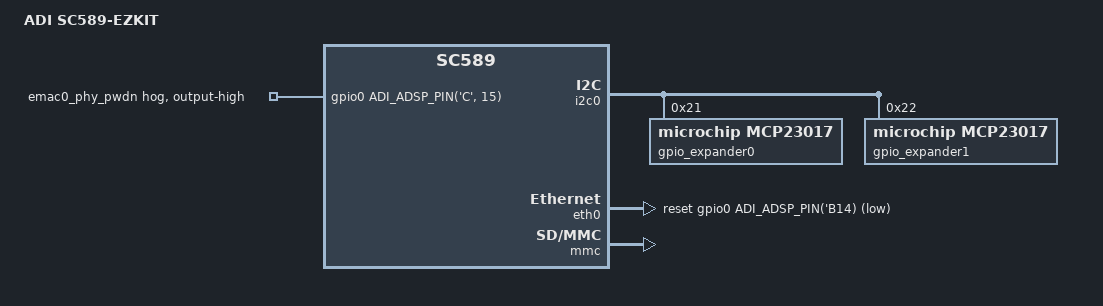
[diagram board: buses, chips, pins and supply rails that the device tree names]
// SPDX-License-Identifier: GPL-2.0-or-later
/*
 * (C) Copyright 2024 - Analog Devices, Inc.
 */

/dts-v1/;

#include "sc58x.dtsi"

/ {
	#address-cells = <1>;
	#size-cells = <1>;
	model = "ADI SC589-EZKIT";
	compatible = "adi,sc589-ezkit", "adi,sc58x";
};

&i2c0 {
	#address-cells = <1>;
	#size-cells = <0>;
	gpio_expander0: mcp23017@21 {
		compatible = "microchip,mcp23017";
		reg = <0x21>;
		gpio-controller;
		#gpio-cells = <2>;
		bootph-pre-ram;

		eeprom {
			gpio-hog;
			gpios = <0 GPIO_ACTIVE_LOW>;
			output-low;
			line-name = "eeprom-en";
			bootph-pre-ram;
		};

		uart0-flow-en {
			gpio-hog;
			gpios = <1 GPIO_ACTIVE_LOW>;
			output-low;
			line-name = "uart0-flow-en";
			bootph-pre-ram;
		};

		uart0-en {
			gpio-hog;
			gpios = <2 GPIO_ACTIVE_LOW>;
			output-high;
			line-name = "uart0-en";
			bootph-pre-ram;
		};

		eth0 {
			gpio-hog;
			gpios = <3 GPIO_ACTIVE_LOW>;
			output-high;
			line-name = "eth0-en";
			bootph-pre-ram;
		};

		eth1 {
			gpio-hog;
			gpios = <4 GPIO_ACTIVE_LOW>;
			output-high;
			line-name = "eth1-en";
			bootph-pre-ram;
		};

		mlb {
			gpio-hog;
			gpios = <5 GPIO_ACTIVE_LOW>;
			output-low;
			line-name = "mlb-en";
			bootph-pre-ram;
		};

		can0 {
			gpio-hog;
			gpios = <6 GPIO_ACTIVE_LOW>;
			output-low;
			line-name = "can0-en";
			bootph-pre-ram;
		};

		can1 {
			gpio-hog;
			gpios = <7 GPIO_ACTIVE_LOW>;
			output-low;
			line-name = "can1-en";
			bootph-pre-ram;
		};

		adau1962 {
			gpio-hog;
			gpios = <8 GPIO_ACTIVE_LOW>;
			output-high;
			line-name = "adau1962-en";
			bootph-pre-ram;
		};

		adau1979 {
			gpio-hog;
			gpios = <9 GPIO_ACTIVE_LOW>;
			output-high;
			line-name = "adau1979-en";
			bootph-pre-ram;
		};

		sd_wp {
			gpio-hog;
			gpios = <11 GPIO_ACTIVE_LOW>;
			output-low;
			line-name = "sd-wp-en";
			bootph-pre-ram;
		};

		spi2d2-d3 {
			gpio-hog;
			gpios = <12 GPIO_ACTIVE_LOW>;
			output-high;
			line-name = "spi2d2-d3-en";
			bootph-pre-ram;
		};

		spi2flash-cs {
			gpio-hog;
			gpios = <13 GPIO_ACTIVE_LOW>;
			output-high;
			line-name = "spi2flash-cs";
			bootph-pre-ram;
		};

		spdif-opt {
			gpio-hog;
			gpios = <14 GPIO_ACTIVE_LOW>;
			output-low;
			line-name = "spdif-optical-en";
			bootph-pre-ram;
		};

		spdif-dig {
			gpio-hog;
			gpios = <15 GPIO_ACTIVE_LOW>;
			output-low;
			line-name = "spdif-digital-en";
			bootph-pre-ram;
		};
	};

	gpio_expander1: mcp23017@22 {
		compatible = "microchip,mcp23017";
		reg = <0x22>;
		gpio-controller;
		#gpio-cells = <2>;
		bootph-pre-ram;

		pushbutton1 {
			gpio-hog;
			gpios = <0 GPIO_ACTIVE_LOW>;
			output-high;
			line-name = "pushbutton1-en";
			bootph-pre-ram;
		};

		pushbutton2 {
			gpio-hog;
			gpios = <1 GPIO_ACTIVE_LOW>;
			output-high;
			line-name = "pushbutton2-en";
			bootph-pre-ram;
		};

		led10 {
			gpio-hog;
			gpios = <2 GPIO_ACTIVE_LOW>;
			output-high;
			line-name = "led10-en";
			bootph-pre-ram;
		};

		led11 {
			gpio-hog;
			gpios = <3 GPIO_ACTIVE_LOW>;
			output-high;
			line-name = "led11-en";
			bootph-pre-ram;
		};

		led12 {
			gpio-hog;
			gpios = <4 GPIO_ACTIVE_LOW>;
			output-high;
			line-name = "led12-en";
			bootph-pre-ram;
		};
	};
};

&eth0 {
	snps,reset-gpio = <&gpio0 ADI_ADSP_PIN('B', 14) GPIO_ACTIVE_LOW>;
};

&gpio0 {
	emac0_phy_pwdn {
		gpio-hog;
		output-high;
		gpios = <ADI_ADSP_PIN('C', 15) GPIO_ACTIVE_HIGH>;
	};
};

&mmc {
	status = "okay";
};
